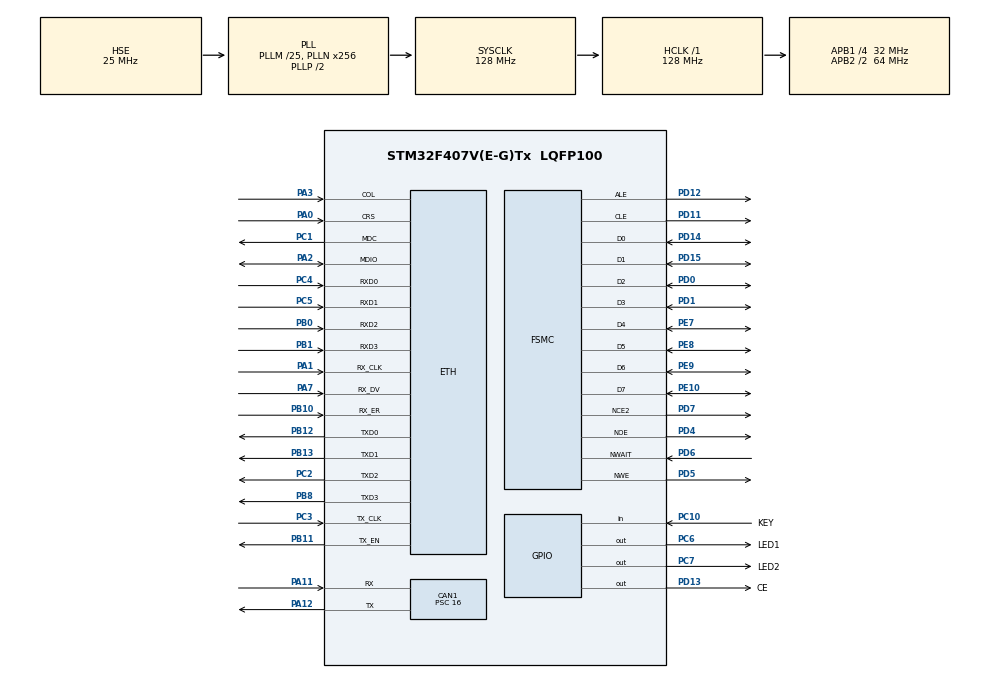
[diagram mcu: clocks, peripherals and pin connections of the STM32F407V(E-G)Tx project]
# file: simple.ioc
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CAN1.BS1=CAN_BS1_13TQ
CAN1.BS2=CAN_BS2_2TQ
CAN1.CalculateTimeQuantum=500.0
CAN1.Mode=CAN_MODE_NORMAL
CAN1.Prescaler=16
ETH.AutoNegotiation=ETH_AUTONEGOTIATION_DISABLE
ETH.DuplexMode=ETH_MODE_FULLDUPLEX
ETH.MediaInterface=ETH_MEDIA_INTERFACE_MII
ETH.PHY_DUPLEX_STATUS=0x0010
ETH.PHY_Name_MII=userPHY
ETH.PHY_SPEED_STATUS=0x0004
ETH.PHY_SR=0x1F
ETH.PhyAddress=1
ETH.Speed=ETH_SPEED_10M
FREERTOS.HEAP_NUMBER=4
FREERTOS.Tasks01=defaultTask,0,256,StartDefaultTask,Default,NULL,Dynamic,NULL,NULL
FREERTOS.configTOTAL_HEAP_SIZE=22528
FSMC.AttributeSpaceHiZSetupTime1=0x1
FSMC.AttributeSpaceHoldSetupTime1=0x2
FSMC.AttributeSpaceSetupTime1=0x1
FSMC.AttributeSpaceWaitSetupTime1=0x3
FSMC.CommonSpaceHiZSetupTime1=0x1
FSMC.CommonSpaceHoldSetupTime1=0x2
FSMC.CommonSpaceSetupTime1=0x1
FSMC.CommonSpaceWaitSetupTime1=0x3
FSMC.ECCPageSize1=FSMC_NAND_ECC_PAGE_SIZE_512BYTE
FSMC.NandBlockNbr1=0x400
FSMC.NandBlockSize1=0x40
FSMC.NandPageSize1=0x800
FSMC.NandSpareAreaSize1=0x40
FSMC.TARSetupTime1=0
FSMC.TCLRSetupTime1=0
LWIP.GATEWAY_ADDRESS=192.168.001.001
LWIP.HTTPD_MAX_RETRIES=1
LWIP.HTTPD_POLL_INTERVAL=1
LWIP.IP_ADDRESS=192.168.001.002
LWIP.LWIP_DHCP=0
LWIP.LWIP_HTTPD=1
LWIP.LWIP_SO_RCVTIMEO=1
LWIP.MEMP_NUM_NETBUF=4
LWIP.MEMP_NUM_NETCONN=10
LWIP.MEMP_NUM_TCP_PCB=10
LWIP.MEM_SIZE=4096
LWIP.NETMASK_ADDRESS=255.255.255.000
LWIP.PBUF_POOL_BUFSIZE=1024
LWIP.TCP_MSS=1024
LWIP.Version=v2.0.3_Cube
Mcu.Family=STM32F4
Mcu.Name=STM32F407V(E-G)Tx
Mcu.Package=LQFP100
NVIC.CAN1_RX0_IRQn=true\:5\:0\:false\:false\:true\:true\:true\:true
NVIC.CAN1_RX1_IRQn=true\:5\:0\:false\:false\:true\:true\:true\:true
NVIC.ETH_IRQn=true\:5\:0\:true\:false\:true\:true\:false\:true
NVIC.PriorityGroup=NVIC_PRIORITYGROUP_4
NVIC.TIM1_UP_TIM10_IRQn=true\:0\:0\:false\:false\:true\:false\:false\:true
NVIC.TimeBase=TIM1_UP_TIM10_IRQn
NVIC.TimeBaseIP=TIM1
PA0-WKUP.Mode=MII
PA0-WKUP.Signal=ETH_CRS
PA1.Mode=MII
PA1.Signal=ETH_RX_CLK
PA11.Mode=Master
PA11.Signal=CAN1_RX
PA12.Mode=Master
PA12.Signal=CAN1_TX
PA2.Mode=MII
PA2.Signal=ETH_MDIO
PA3.Mode=MII
PA3.Signal=ETH_COL
PA7.Mode=MII
PA7.Signal=ETH_RX_DV
PB0.Mode=MII
PB0.Signal=ETH_RXD2
PB1.Mode=MII
PB1.Signal=ETH_RXD3
PB10.Mode=Activate Rx Err signal
PB10.Signal=ETH_RX_ER
PB11.Mode=MII
PB11.Signal=ETH_TX_EN
PB12.Mode=MII
PB12.Signal=ETH_TXD0
PB13.Mode=MII
PB13.Signal=ETH_TXD1
PB8.Mode=MII
PB8.Signal=ETH_TXD3
PC1.Mode=MII
PC1.Signal=ETH_MDC
PC10.GPIO_Label=KEY
PC10.Signal=GPIO_Input
PC14-OSC32_IN.Mode=LSE-External-Oscillator
PC14-OSC32_IN.Signal=RCC_OSC32_IN
PC15-OSC32_OUT.Mode=LSE-External-Oscillator
PC15-OSC32_OUT.Signal=RCC_OSC32_OUT
PC2.Mode=MII
PC2.Signal=ETH_TXD2
PC3.Mode=MII
PC3.Signal=ETH_TX_CLK
PC4.Mode=MII
PC4.Signal=ETH_RXD0
PC5.Mode=MII
PC5.Signal=ETH_RXD1
PC6.GPIO_Label=LED1
PC6.Signal=GPIO_Output
PC7.GPIO_Label=LED2
PC7.Signal=GPIO_Output
PD0.GPIO_PuPd=GPIO_PULLUP
PD0.Mode=8b-dmux1
PD0.Signal=FSMC_D2
PD1.GPIO_PuPd=GPIO_PULLUP
PD1.Mode=8b-dmux1
PD1.Signal=FSMC_D3
PD11.GPIO_PuPd=GPIO_PULLUP
PD11.Mode=8b-dmux1
PD11.Signal=FSMC_CLE
PD12.GPIO_PuPd=GPIO_PULLUP
PD12.Mode=8b-dmux1
PD12.Signal=FSMC_ALE
PD13.GPIO_Label=CE
PD13.GPIO_PuPd=GPIO_PULLUP
PD13.Signal=GPIO_Output
PD14.GPIO_PuPd=GPIO_PULLUP
PD14.Mode=8b-dmux1
PD14.Signal=FSMC_D0
PD15.GPIO_PuPd=GPIO_PULLUP
PD15.Mode=8b-dmux1
PD15.Signal=FSMC_D1
PD4.GPIO_PuPd=GPIO_PULLUP
PD4.Mode=8b-dmux1
PD4.Signal=FSMC_NOE
PD5.GPIO_PuPd=GPIO_PULLUP
PD5.Mode=8b-dmux1
PD5.Signal=FSMC_NWE
PD6.GPIO_PuPd=GPIO_PULLUP
PD6.Mode=Wait1
PD6.Signal=FSMC_NWAIT
PD7.GPIO_PuPd=GPIO_PULLUP
PD7.Mode=NandChipSelect2_1
PD7.Signal=FSMC_NCE2
PE10.GPIO_PuPd=GPIO_PULLUP
PE10.Mode=8b-dmux1
PE10.Signal=FSMC_D7
PE7.GPIO_PuPd=GPIO_PULLUP
PE7.Mode=8b-dmux1
PE7.Signal=FSMC_D4
PE8.GPIO_PuPd=GPIO_PULLUP
PE8.Mode=8b-dmux1
PE8.Signal=FSMC_D5
PE9.GPIO_PuPd=GPIO_PULLUP
PE9.Mode=8b-dmux1
PE9.Signal=FSMC_D6
PH0-OSC_IN.Mode=HSE-External-Oscillator
PH0-OSC_IN.Signal=RCC_OSC_IN
PH1-OSC_OUT.Mode=HSE-External-Oscillator
PH1-OSC_OUT.Signal=RCC_OSC_OUT
ProjectManager.HeapSize=0x6000
ProjectManager.StackSize=0x6000
ProjectManager.TargetToolchain=TrueSTUDIO
RCC.48MHZClocksFreq_Value=42666666.666666664
RCC.AHBFreq_Value=128000000
RCC.APB1CLKDivider=RCC_HCLK_DIV4
RCC.APB1Freq_Value=32000000
RCC.APB1TimFreq_Value=64000000
RCC.APB2CLKDivider=RCC_HCLK_DIV2
RCC.APB2Freq_Value=64000000
RCC.APB2TimFreq_Value=128000000
RCC.CortexFreq_Value=128000000
RCC.HCLKFreq_Value=128000000
RCC.HSE_VALUE=25000000
RCC.HSI_VALUE=16000000
RCC.PLLM=25
RCC.PLLN=256
RCC.PLLQ=6
RCC.PLLSourceVirtual=RCC_PLLSOURCE_HSE
RCC.RCC_RTC_Clock_Source=RCC_RTCCLKSOURCE_LSE
RCC.RCC_RTC_Clock_SourceVirtual=RCC_RTCCLKSOURCE_HSE_DIV25
RCC.RCC_RTC_Clock_Source_FROM_HSE=RCC_RTCCLKSOURCE_HSE_DIV25
RCC.SYSCLKFreq_VALUE=128000000
RCC.SYSCLKSource=RCC_SYSCLKSOURCE_PLLCLK
RCC.VCOOutputFreq_Value=256000000
RTC.AsynchPrediv=127
RTC.SynchPrediv=255
VP_FREERTOS_VS_CMSIS_V1.Mode=CMSIS_V1
VP_IWDG_VS_IWDG.Mode=IWDG_Activate
VP_LWIP_VS_Enabled.Mode=Enabled
VP_RNG_VS_RNG.Mode=RNG_Activate
VP_RTC_VS_RTC_Activate.Mode=RTC_Enabled
VP_SYS_VS_tim1.Mode=TIM1
board=custom

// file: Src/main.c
/* USER CODE BEGIN Header */
/**
  ******************************************************************************
  * @file           : main.c
  * @brief          : Main program body
  ******************************************************************************
  * This notice applies to any and all portions of this file
  * that are not between comment pairs USER CODE BEGIN and
  * USER CODE END. Other portions of this file, whether
  * inserted by the user or by software development tools
  * are owned by their respective copyright owners.
  *
  * Copyright (c) 2019 STMicroelectronics International N.V.
  * All rights reserved.
  *
  * Redistribution and use in source and binary forms, with or without
  * modification, are permitted, provided that the following conditions are met:
  *
  * 1. Redistribution of source code must retain the above copyright notice,
  *    this list of conditions and the following disclaimer.
  * 2. Redistributions in binary form must reproduce the above copyright notice,
  *    this list of conditions and the following disclaimer in the documentation
  *    and/or other materials provided with the distribution.
  * 3. Neither the name of STMicroelectronics nor the names of other
  *    contributors to this software may be used to endorse or promote products
  *    derived from this software without specific written permission.
  * 4. This software, including modifications and/or derivative works of this
  *    software, must execute solely and exclusively on microcontroller or
  *    microprocessor devices manufactured by or for STMicroelectronics.
  * 5. Redistribution and use of this software other than as permitted under
  *    this license is void and will automatically terminate your rights under
  *    this license.
  *
  * THIS SOFTWARE IS PROVIDED BY STMICROELECTRONICS AND CONTRIBUTORS "AS IS"
  * AND ANY EXPRESS, IMPLIED OR STATUTORY WARRANTIES, INCLUDING, BUT NOT
  * LIMITED TO, THE IMPLIED WARRANTIES OF MERCHANTABILITY, FITNESS FOR A
  * PARTICULAR PURPOSE AND NON-INFRINGEMENT OF THIRD PARTY INTELLECTUAL PROPERTY
  * RIGHTS ARE DISCLAIMED TO THE FULLEST EXTENT PERMITTED BY LAW. IN NO EVENT
  * SHALL STMICROELECTRONICS OR CONTRIBUTORS BE LIABLE FOR ANY DIRECT, INDIRECT,
  * INCIDENTAL, SPECIAL, EXEMPLARY, OR CONSEQUENTIAL DAMAGES (INCLUDING, BUT NOT
  * LIMITED TO, PROCUREMENT OF SUBSTITUTE GOODS OR SERVICES; LOSS OF USE, DATA,
  * OR PROFITS; OR BUSINESS INTERRUPTION) HOWEVER CAUSED AND ON ANY THEORY OF
  * LIABILITY, WHETHER IN CONTRACT, STRICT LIABILITY, OR TORT (INCLUDING
  * NEGLIGENCE OR OTHERWISE) ARISING IN ANY WAY OUT OF THE USE OF THIS SOFTWARE,
  * EVEN IF ADVISED OF THE POSSIBILITY OF SUCH DAMAGE.
  *
  ******************************************************************************
  */
/* USER CODE END Header */

#include "main.h"
#include "cmsis_os.h"
#include "can.h"
#include "iwdg.h"
#include "lwip.h"
#include "rng.h"
#include "rtc.h"
#include "gpio.h"
#include "fsmc.h"

/* USER CODE BEGIN Includes */

#include <string.h>
#include "canLogger.h"
#include "fsmc_flash.h"
#include "eeprom.h"

/* USER CODE END Includes */

/* USER CODE BEGIN PD */

//#define FLASH_TEST	1

#define NAND_PAGE_SIZE          ((uint16_t)0x0800) /* 2 * 1024 bytes per page w/o Spare Area */
#define BUFFER_SIZE             (NAND_PAGE_SIZE)

#define	EEPROM_KEY_VALUE	0x3238

/* USER CODE END PD */

/* USER CODE BEGIN PV */

extern unsigned short bl_num;
extern unsigned short page_num;

extern NAND_HandleTypeDef hnand1;

uint16_t VirtAddVarTab[NB_OF_VAR]={1,2,3,4,5,6,7,8,9,10,11,12,13,14,15,16};

NAND_IDTypeDef NAND_ID;

#ifdef FLASH_TEST
NAND_AddressTypeDef NAND_Address;

static uint8_t TxBuffer[BUFFER_SIZE];
static uint8_t RxBuffer[BUFFER_SIZE];
static uint8_t spare[64];
uint16_t i=0,j=0;
uint16_t p_num=0;

#endif
/* USER CODE END PV */

void SystemClock_Config(void);
void MX_FREERTOS_Init(void);

/* USER CODE BEGIN 0 */

uint8_t conf[64];	// буфер с настройками

static void EnableBKUPmem(void)
{
   RCC->APB1ENR |= RCC_APB1ENR_PWREN;
   /* Enable backup SRAM Clock */
   RCC->AHB1ENR |= RCC_AHB1ENR_BKPSRAMEN;
   /* Allow access to backup domain */
   HAL_PWR_EnableBkUpAccess();
   /* Enable the Backup SRAM low power Regulator */
   /* This will allow data to stay when using VBat mode */
   //PWR_BackupRegulatorCmd(ENABLE);
   *(__IO uint32_t *) CSR_BRE_BB = (uint32_t) ENABLE;
   /* Wait for backup regulator to be ready  */
   while (!(PWR->CSR & (PWR_FLAG_BRR)));
}

__attribute__((unused)) static void DisableBKUPmem(void)
{
   HAL_PWR_DisableBkUpAccess();
}

uint8_t read_ip_from_conf(uint8_t num) {
	if(num==1) {
		return (conf[11]-'0')*100 + (conf[12]-'0')*10 + (conf[13]-'0');
	}else if(num==2) {
		return (conf[14]-'0')*100 + (conf[15]-'0')*10 + (conf[16]-'0');
	}else if(num==3) {
		return (conf[17]-'0')*100 + (conf[18]-'0')*10 + (conf[19]-'0');
	}else if(num==4) {
		return (conf[20]-'0')*100 + (conf[21]-'0')*10 + (conf[22]-'0');
	}
	return 0;
}

uint8_t read_mask_from_conf(uint8_t num) {
	if(num==1) {
		return (conf[23]-'0')*100 + (conf[24]-'0')*10 + (conf[25]-'0');
	}else if(num==2) {
		return (conf[26]-'0')*100 + (conf[27]-'0')*10 + (conf[28]-'0');
	}else if(num==3) {
		return (conf[29]-'0')*100 + (conf[30]-'0')*10 + (conf[31]-'0');
	}else if(num==4) {
		return (conf[32]-'0')*100 + (conf[33]-'0')*10 + (conf[34]-'0');
	}
	return 0;
}

uint8_t read_gate_from_conf(uint8_t num) {
	if(num==1) {
		return (conf[35]-'0')*100 + (conf[36]-'0')*10 + (conf[37]-'0');
	}else if(num==2) {
		return (conf[38]-'0')*100 + (conf[39]-'0')*10 + (conf[40]-'0');
	}else if(num==3) {
		return (conf[41]-'0')*100 + (conf[42]-'0')*10 + (conf[43]-'0');
	}else if(num==4) {
		return (conf[44]-'0')*100 + (conf[45]-'0')*10 + (conf[46]-'0');
	}
	return 0;
}

uint16_t read_id_from_conf() {
	uint16_t res = 0;
	res = ((uint16_t)conf[47]-'0')*10000;
	res+= ((uint16_t)conf[48]-'0')*1000;
	res+= ((uint16_t)conf[49]-'0')*100;
	res+= ((uint16_t)conf[50]-'0')*10;
	res+= ((uint16_t)conf[51]-'0');
	return res;
}

void read_conf() {
	EnableBKUPmem();
	memcpy(conf,(uint32_t*) BKPSRAM_BASE, sizeof(conf));
	//DisableBKUPmem();
}

void write_conf() {
	EnableBKUPmem();
	memcpy((uint32_t*)BKPSRAM_BASE, conf, sizeof(conf));
	//DisableBKUPmem();
}

void set_default_conf() {
	// start key
	conf[0] = 0xA6;
	conf[1] = 0x4D;
	// version
	conf[2] = '1';
	conf[3] = '0';

	conf[4] = '1';// node 0 (PC21-1)
	conf[5] = '2';// node 1 (PC21-CD)
	conf[6] = '0';// node 2
	conf[7] = '3';// node 3 (PC21-MC)
	conf[8] = '0';// node 4
	conf[9] = '0';// node 5
	conf[10] = '0';// node 6

	// IP адрес
	conf[11] = '1';conf[12] = '9';conf[13] = '2';
	conf[14] = '1';conf[15] = '6';conf[16] = '8';
	conf[17] = '0';conf[18] = '0';conf[19] = '1';
	conf[20] = '0';conf[21] = '0';conf[22] = '2';

	// маска
	conf[23] = '2';conf[24] = '5';conf[25] = '5';
	conf[26] = '2';conf[27] = '5';conf[28] = '5';
	conf[29] = '2';conf[30] = '5';conf[31] = '5';
	conf[32] = '0';conf[33] = '0';conf[34] = '0';

	// шлюз
	conf[35] = '1';conf[36] = '9';conf[37] = '2';
	conf[38] = '1';conf[39] = '6';conf[40] = '8';
	conf[41] = '0';conf[42] = '0';conf[43] = '1';
	conf[44] = '0';conf[45] = '0';conf[46] = '1';

	conf[47]='0';conf[48]='0';conf[49]='0';conf[50]='0';conf[51]='0';

	conf[52] = 'C';conf[53]='F';conf[54]='7';conf[55]='7';

	write_conf();
}

/* USER CODE END 0 */

int main(void)
{
  /* USER CODE BEGIN 1 */

  uint16_t ee_key = 0;

  /* USER CODE END 1 */

  /* MCU Configuration--------------------------------------------------------*/

  /* Reset of all peripherals, Initializes the Flash interface and the Systick. */
  HAL_Init();

  /* Configure the system clock */
  SystemClock_Config();

  /* USER CODE BEGIN SysInit */

  HAL_FLASH_Unlock();
  EE_Init();

  EE_ReadVariable(VirtAddVarTab[0],  &ee_key);
  if(ee_key==EEPROM_KEY_VALUE) {
  	EE_ReadVariable(VirtAddVarTab[1],  &ee_key);
  	if(ee_key!=2) EE_WriteVariable(VirtAddVarTab[1],2);
  }

  /* USER CODE END SysInit */

  /* Initialize all configured peripherals */
  MX_GPIO_Init();
  MX_RTC_Init();
  MX_CAN1_Init();
  //MX_IWDG_Init();
  MX_RNG_Init();
  MX_FSMC_Init();
  /* USER CODE BEGIN 2 */

  __enable_irq();
  HAL_NAND_Read_ID(&hnand1, &NAND_ID);

#ifdef FLASH_TEST

   uint16_t err = 0;
   bl_num = 0;
   p_num = 0;

   for(i=0;i<1024;i++) {
 	  NAND_Address.Plane = 0;
 	  NAND_Address.Block = i;
 	  NAND_Address.Page = p_num;
 	  HAL_NAND_Erase_Block(&hnand1, &NAND_Address);
   }

   /*NAND_Address.Plane = 0;
   NAND_Address.Block = 489;
   NAND_Address.Page = 0;
   for(j=0;j<64;j++) spare[j]=0;
   NAND_Address.Plane = 0;
   NAND_Address.Block = 489;
   NAND_Address.Page = j;
   HAL_NAND_Write_SpareArea_8b(&hnand1, &NAND_Address,spare,1);*/

   HAL_Delay(100);

   while(1) {
 	if(bl_num>=1024) break;
 	NAND_Address.Plane = 0;
 	NAND_Address.Block = bl_num;
 	NAND_Address.Page = p_num;
 	spare[0] = 0;
 	if(p_num==0) {
 		HAL_NAND_Read_SpareArea_8b(&hnand1, &NAND_Address, spare, 1);
 		if(spare[0]==0xFF) {
 			HAL_NAND_Erase_Block(&hnand1, &NAND_Address);
 		}else {
 			err++;
 			bl_num++;p_num=0;
 			continue;
 		}
 	}
 	for (uint32_t i = 0; i < BUFFER_SIZE; i++) {
 		TxBuffer[i] = i;
 		RxBuffer[i] = 0;
 	}
 	if(HAL_NAND_Write_Page(&hnand1, &NAND_Address, TxBuffer, 1)==HAL_TIMEOUT) {
 		hnand1.State = HAL_NAND_STATE_RESET;
 	}
 	HAL_NAND_Read_Page(&hnand1, &NAND_Address, RxBuffer, 1);

 	if(memcmp(TxBuffer, RxBuffer,2048) == 0 )  {
 		if(p_num==0) {HAL_GPIO_TogglePin(GPIOC, GPIO_PIN_6);}
 	}else {
 		NAND_Address.Plane = 0;
 		NAND_Address.Block = bl_num;
 		NAND_Address.Page = 0;
 		HAL_NAND_Write_SpareArea_8b(&hnand1,&NAND_Address,spare,1);
 		bl_num++;
 		p_num=0;
 		err++;
 		HAL_GPIO_TogglePin(GPIOC, GPIO_PIN_7);

 	}
 	p_num++;
 	if(p_num>=64) {
 		p_num = 0;
 		bl_num++;
 	}

   }
   if(err) {
 	  HAL_GPIO_WritePin(GPIOC, GPIO_PIN_6,GPIO_PIN_RESET);
 	  HAL_Delay(3000);
 	  for(uint32_t i = 0; i < err*2; i++) {
 		  HAL_Delay(1000);
 		  HAL_GPIO_TogglePin(GPIOC, GPIO_PIN_6);
 	  }
 	  HAL_Delay(3000);
   }

#endif

  bl_num = HAL_RTCEx_BKUPRead(&hrtc, RTC_BKP_DR2);
  page_num = HAL_RTCEx_BKUPRead(&hrtc, RTC_BKP_DR3);

  if(bl_num>=1024) bl_num=0;
  if(page_num>=64) page_num=0;

  initLogger();

  read_conf();
  if(conf[0]!=0xA6 || conf[1]!=0x4D) set_default_conf();

  HAL_Delay(100);

  reset_flash();
  HAL_Delay(100);

  /* USER CODE END 2 */

  /* Call init function for freertos objects (in freertos.c) */
  MX_FREERTOS_Init();

  /* Start scheduler */
  osKernelStart();

  /* We should never get here as control is now taken by the scheduler */

  /* Infinite loop */
  while (1)
  {

  }
}

void SystemClock_Config(void)
{
  RCC_OscInitTypeDef RCC_OscInitStruct = {0};
  RCC_ClkInitTypeDef RCC_ClkInitStruct = {0};
  RCC_PeriphCLKInitTypeDef PeriphClkInitStruct = {0};

  /** Configure the main internal regulator output voltage
  */
  __HAL_RCC_PWR_CLK_ENABLE();
  __HAL_PWR_VOLTAGESCALING_CONFIG(PWR_REGULATOR_VOLTAGE_SCALE1);
  /** Initializes the CPU, AHB and APB busses clocks
  */
  RCC_OscInitStruct.OscillatorType = RCC_OSCILLATORTYPE_LSI|RCC_OSCILLATORTYPE_HSE
                              |RCC_OSCILLATORTYPE_LSE;
  RCC_OscInitStruct.HSEState = RCC_HSE_ON;
  RCC_OscInitStruct.LSEState = RCC_LSE_ON;
  RCC_OscInitStruct.LSIState = RCC_LSI_ON;
  RCC_OscInitStruct.PLL.PLLState = RCC_PLL_ON;
  RCC_OscInitStruct.PLL.PLLSource = RCC_PLLSOURCE_HSE;
  RCC_OscInitStruct.PLL.PLLM = 25;
  RCC_OscInitStruct.PLL.PLLN = 256;
  RCC_OscInitStruct.PLL.PLLP = RCC_PLLP_DIV2;
  RCC_OscInitStruct.PLL.PLLQ = 6;
  if (HAL_RCC_OscConfig(&RCC_OscInitStruct) != HAL_OK)
  {
    Error_Handler();
  }
  /** Initializes the CPU, AHB and APB busses clocks
  */
  RCC_ClkInitStruct.ClockType = RCC_CLOCKTYPE_HCLK|RCC_CLOCKTYPE_SYSCLK
                              |RCC_CLOCKTYPE_PCLK1|RCC_CLOCKTYPE_PCLK2;
  RCC_ClkInitStruct.SYSCLKSource = RCC_SYSCLKSOURCE_PLLCLK;
  RCC_ClkInitStruct.AHBCLKDivider = RCC_SYSCLK_DIV1;
  RCC_ClkInitStruct.APB1CLKDivider = RCC_HCLK_DIV4;
  RCC_ClkInitStruct.APB2CLKDivider = RCC_HCLK_DIV2;

  if (HAL_RCC_ClockConfig(&RCC_ClkInitStruct, FLASH_LATENCY_4) != HAL_OK)
  {
    Error_Handler();
  }
  PeriphClkInitStruct.PeriphClockSelection = RCC_PERIPHCLK_RTC;
  PeriphClkInitStruct.RTCClockSelection = RCC_RTCCLKSOURCE_LSE;
  if (HAL_RCCEx_PeriphCLKConfig(&PeriphClkInitStruct) != HAL_OK)
  {
    Error_Handler();
  }
}

void HAL_TIM_PeriodElapsedCallback(TIM_HandleTypeDef *htim)
{
  if (htim->Instance == TIM1) {
    HAL_IncTick();
  }
}

void Error_Handler(void)
{
  /* USER CODE BEGIN Error_Handler_Debug */
  /* User can add his own implementation to report the HAL error return state */
	while(1);
  /* USER CODE END Error_Handler_Debug */
}

/************************ (C) COPYRIGHT STMicroelectronics *****END OF FILE****/

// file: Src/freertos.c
/* USER CODE BEGIN Header */
/**
  ******************************************************************************
  * File Name          : freertos.c
  * Description        : Code for freertos applications
  ******************************************************************************
  * This notice applies to any and all portions of this file
  * that are not between comment pairs USER CODE BEGIN and
  * USER CODE END. Other portions of this file, whether
  * inserted by the user or by software development tools
  * are owned by their respective copyright owners.
  *
  * Copyright (c) 2019 STMicroelectronics International N.V.
  * All rights reserved.
  *
  * Redistribution and use in source and binary forms, with or without
  * modification, are permitted, provided that the following conditions are met:
  *
  * 1. Redistribution of source code must retain the above copyright notice,
  *    this list of conditions and the following disclaimer.
  * 2. Redistributions in binary form must reproduce the above copyright notice,
  *    this list of conditions and the following disclaimer in the documentation
  *    and/or other materials provided with the distribution.
  * 3. Neither the name of STMicroelectronics nor the names of other
  *    contributors to this software may be used to endorse or promote products
  *    derived from this software without specific written permission.
  * 4. This software, including modifications and/or derivative works of this
  *    software, must execute solely and exclusively on microcontroller or
  *    microprocessor devices manufactured by or for STMicroelectronics.
  * 5. Redistribution and use of this software other than as permitted under
  *    this license is void and will automatically terminate your rights under
  *    this license.
  *
  * THIS SOFTWARE IS PROVIDED BY STMICROELECTRONICS AND CONTRIBUTORS "AS IS"
  * AND ANY EXPRESS, IMPLIED OR STATUTORY WARRANTIES, INCLUDING, BUT NOT
  * LIMITED TO, THE IMPLIED WARRANTIES OF MERCHANTABILITY, FITNESS FOR A
  * PARTICULAR PURPOSE AND NON-INFRINGEMENT OF THIRD PARTY INTELLECTUAL PROPERTY
  * RIGHTS ARE DISCLAIMED TO THE FULLEST EXTENT PERMITTED BY LAW. IN NO EVENT
  * SHALL STMICROELECTRONICS OR CONTRIBUTORS BE LIABLE FOR ANY DIRECT, INDIRECT,
  * INCIDENTAL, SPECIAL, EXEMPLARY, OR CONSEQUENTIAL DAMAGES (INCLUDING, BUT NOT
  * LIMITED TO, PROCUREMENT OF SUBSTITUTE GOODS OR SERVICES; LOSS OF USE, DATA,
  * OR PROFITS; OR BUSINESS INTERRUPTION) HOWEVER CAUSED AND ON ANY THEORY OF
  * LIABILITY, WHETHER IN CONTRACT, STRICT LIABILITY, OR TORT (INCLUDING
  * NEGLIGENCE OR OTHERWISE) ARISING IN ANY WAY OUT OF THE USE OF THIS SOFTWARE,
  * EVEN IF ADVISED OF THE POSSIBILITY OF SUCH DAMAGE.
  *
  ******************************************************************************
  */
/* USER CODE END Header */

#include "FreeRTOS.h"
#include "task.h"
#include "main.h"
#include "cmsis_os.h"

/* USER CODE BEGIN Includes */

#include "canViewer.h"
#include "canLogger.h"
#include "stm32f4xx_hal.h"
#include "iwdg.h"
#include "udp_server.h"
#include "datetime.h"

#include <stdio.h>
#include "stats.h"
//#include "tcpbase.h"
/* USER CODE END Includes */

/* USER CODE BEGIN Variables */

//extern uint8_t reset_flag;

uint16_t reset_tmr = 0;
uint16_t reset_flag = 0;

uint16_t key_tmr = 0;
extern uint16_t can_tmr;
extern IWDG_HandleTypeDef hiwdg;

osThreadId canViewerTaskHandle;
osThreadId canLoggerTaskHandle;
osThreadId datetimeTaskHandle;

//extern struct stats_ lwip_stats;

/* USER CODE END Variables */
osThreadId defaultTaskHandle;

/* USER CODE BEGIN FunctionPrototypes */

extern void tcp_server_init(void);
extern void http_server_init(void);
extern void set_default_conf();

/* USER CODE END FunctionPrototypes */

void StartDefaultTask(void const * argument);

extern void MX_LWIP_Init(void);
void MX_FREERTOS_Init(void); /* (MISRA C 2004 rule 8.1) */

/* GetIdleTaskMemory prototype (linked to static allocation support) */
void vApplicationGetIdleTaskMemory( StaticTask_t **ppxIdleTaskTCBBuffer, StackType_t **ppxIdleTaskStackBuffer, uint32_t *pulIdleTaskStackSize );

/* USER CODE BEGIN GET_IDLE_TASK_MEMORY */
static StaticTask_t xIdleTaskTCBBuffer;
static StackType_t xIdleStack[configMINIMAL_STACK_SIZE];

void vApplicationGetIdleTaskMemory( StaticTask_t **ppxIdleTaskTCBBuffer, StackType_t **ppxIdleTaskStackBuffer, uint32_t *pulIdleTaskStackSize )
{
  *ppxIdleTaskTCBBuffer = &xIdleTaskTCBBuffer;
  *ppxIdleTaskStackBuffer = &xIdleStack[0];
  *pulIdleTaskStackSize = configMINIMAL_STACK_SIZE;
  /* place for user code */
}
/* USER CODE END GET_IDLE_TASK_MEMORY */

void MX_FREERTOS_Init(void) {

  /* Create the thread(s) */
  /* definition and creation of defaultTask */
  osThreadDef(defaultTask, StartDefaultTask, osPriorityNormal, 0, 256);
  defaultTaskHandle = osThreadCreate(osThread(defaultTask), NULL);

  /* USER CODE BEGIN RTOS_THREADS */
  /* add threads, ... */

  osThreadDef(canViewer, canViewerTask, osPriorityNormal, 0, 512);
  canViewerTaskHandle = osThreadCreate(osThread(canViewer), NULL);

  osThreadDef(canLog, canLoggerTask, osPriorityAboveNormal, 0, 512);
  canLoggerTaskHandle = osThreadCreate(osThread(canLog), NULL);

  osThreadDef(dateTime, datetimeTask, osPriorityBelowNormal, 0, 128);
  datetimeTaskHandle = osThreadCreate(osThread(dateTime), NULL);

  /* USER CODE END RTOS_THREADS */

}

void StartDefaultTask(void const * argument)
{
  /* init code for LWIP */
  MX_LWIP_Init();

  /* USER CODE BEGIN StartDefaultTask */

  uint16_t led1_start = 0;
  uint16_t led1_period = 2;
  uint16_t led2_period = 30;
  uint16_t led1_cnt = 0;
  uint16_t led2_cnt = 0;
  //static uint16_t i = 0;

  tcp_server_init();
  http_server_init();
  udp_server_init();
  MX_IWDG_Init();
  /* Infinite loop */
  for(;;)
  {
	  /*i++;
	  if(i>=5) {
		  i = 0;
		  ITM_SendChar( lwip_stats.memp[1]->used + '0' );
	  }*/

	  if(HAL_GPIO_ReadPin(KEY_GPIO_Port,KEY_Pin)==GPIO_PIN_RESET) key_tmr++;else key_tmr = 0;
	  if(key_tmr>=10*3) {
		  set_default_conf();
		  HAL_Delay(100);
		  NVIC_SystemReset();
	  }
	  osDelay(100);
	  if(can_tmr==0) led1_start = 1;
	  if(led1_start) {
		  if(led1_cnt==0) HAL_GPIO_WritePin(LED1_GPIO_Port, LED1_Pin,GPIO_PIN_SET);else HAL_GPIO_WritePin(LED1_GPIO_Port, LED1_Pin,GPIO_PIN_RESET);
		  led1_cnt++;if(led1_cnt>=led1_period) {led1_cnt=0;led1_start=0;}
	  }
	  if(led2_cnt==0) HAL_GPIO_WritePin(LED2_GPIO_Port, LED2_Pin,GPIO_PIN_SET);else HAL_GPIO_WritePin(LED2_GPIO_Port, LED2_Pin,GPIO_PIN_RESET);

	  //HAL_GPIO_TogglePin(LED2_GPIO_Port, LED2_Pin);
	  led2_cnt++;if(led2_cnt>=led2_period) led2_cnt=0;
	  can_tmr++;
	  reset_tmr++;
	  if(reset_tmr>=600*10) {reset_tmr=0;reset_flag=1;}
	  if(reset_flag==0)
		  HAL_IWDG_Refresh(&hiwdg);
  }
  /* USER CODE END StartDefaultTask */
}

/************************ (C) COPYRIGHT STMicroelectronics *****END OF FILE****/
